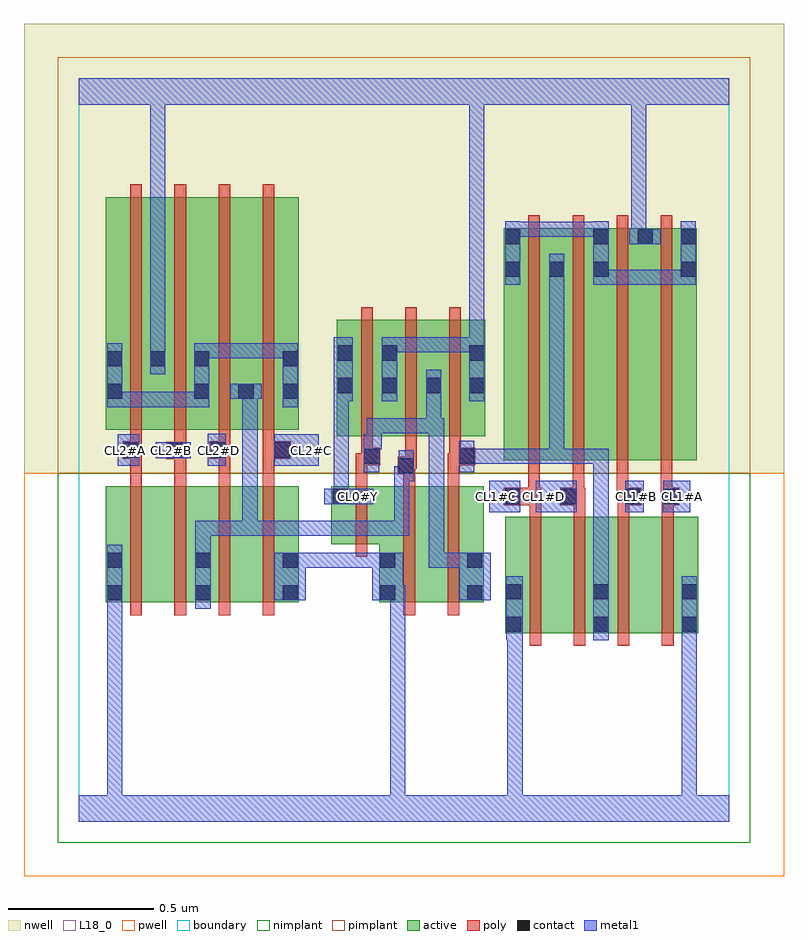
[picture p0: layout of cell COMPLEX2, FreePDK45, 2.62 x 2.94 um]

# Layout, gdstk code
import gdstk
lib = gdstk.Library(unit=1e-6, precision=1e-09)
def R(c, l, rs):  # rectangles x0, y0, x1, y1
    for r in rs: c.add(gdstk.rectangle(r[:2], r[2:], *l))
def A(c, l, x, y, w, h, nx, ny, dx, dy):  # array of equal rectangles
    R(c, l, [(x+i*dx, y+j*dy, x+i*dx+w, y+j*dy+h) for i in range(nx) for j in range(ny)])
active = (1, 0)
pwell = (2, 0)
nwell = (3, 0)
nimplant = (4, 0)
pimplant = (5, 0)
poly = (9, 0)
contact = (10, 0)
metal1 = (11, 0)
L18_0 = (18, 0)
boundary = (235, 0)

complex2 = lib.new_cell('COMPLEX2')
A(complex2, active, 1.464, 1.244, 0.212, 0.8, 3, 1, 0.152, 0)
A(complex2, active, 0.888, 1.328, 0.06, 0.316, 3, 1, 0.152, 0)
A(complex2, active, 0.242, 1.35, 0.212, 0.8, 3, 1, 0.152, 0)
A(complex2, active, 1.616, 1.686, 0.06, 0.358, 3, 1, 0.152, 0)
R(complex2, active, [(1.468,0.65,1.528,1.05), (1.468,0.65,1.648,1.05), (1.648,0.65,1.828,1.05), (1.768,0.65,1.952,1.05), (1.768,0.65,1.828,0.822), (1.952,0.65,2.132,1.05), (2.072,0.65,2.132,1.05), (0.094,0.756,0.154,1.156), (0.094,0.756,0.274,1.156), (0.274,0.756,0.458,1.156), (0.398,0.756,0.458,1.156), (0.398,0.756,0.578,1.156), (0.578,0.756,0.758,1.156), (0.698,0.756,0.758,0.948), (1.034,0.756,1.214,1.156), (1.034,0.756,1.094,0.956), (1.214,0.756,1.394,1.156), (1.334,0.756,1.394,1.156), (0.87,0.956,0.93,1.156), (0.87,0.956,1.094,1.156), (1.464,1.244,1.524,2.044), (1.92,1.244,2.128,2.044), (2.068,1.244,2.128,2.044), (0.888,1.328,1.1,1.728), (1.04,1.328,1.252,1.728), (1.192,1.328,1.4,1.728), (1.34,1.328,1.4,1.644), (0.094,1.35,0.302,2.15), (0.094,1.35,0.154,2.044), (0.698,1.35,0.758,2.044), (0.394,1.452,0.454,2.044), (0.546,1.452,0.606,2.044), (0.242,1.564,0.302,2.044)])
R(complex2, pwell, [(-0.188,-0.188,2.428,1.2)])
R(complex2, nwell, [(-0.188,1.2,2.428,2.748)])
R(complex2, nimplant, [(-0.072,-0.072,2.312,1.2)])
R(complex2, pimplant, [(-0.072,1.2,2.312,2.632)])
A(complex2, poly, 1.552, 0.606, 0.04, 0.488, 4, 1, 0.152, 0)
A(complex2, poly, 0.178, 0.712, 0.04, 0.488, 4, 1, 0.152, 0)
A(complex2, poly, 1.552, 1.054, 0.04, 0.076, 4, 1, 0.152, 0)
A(complex2, poly, 1.548, 1.11, 0.04, 0.13, 4, 1, 0.152, 0)
A(complex2, poly, 1.548, 1.2, 0.04, 0.888, 4, 1, 0.152, 0)
A(complex2, poly, 0.972, 1.284, 0.04, 0.488, 3, 1, 0.152, 0)
A(complex2, poly, 0.178, 1.306, 0.04, 0.888, 4, 1, 0.152, 0)
R(complex2, poly, [(1.118,0.712,1.158,1.2), (1.27,0.712,1.31,1.2), (0.954,0.912,0.994,1.2), (1.464,1.09,1.592,1.15), (1.658,1.09,1.744,1.15), (1.856,1.09,1.938,1.15), (2.008,1.09,2.068,1.15), (1.548,1.11,1.588,1.15), (1.548,1.11,1.588,1.15), (1.7,1.11,1.74,1.15), (1.7,1.11,1.74,1.15), (1.852,1.11,1.896,1.15), (1.856,1.11,1.896,1.15), (2.004,1.11,2.048,1.15), (2.008,1.11,2.048,1.15), (0.178,1.16,0.218,1.29), (0.33,1.16,0.37,1.288), (0.482,1.16,0.522,1.29), (0.634,1.16,0.674,1.29), (0.954,1.16,0.994,1.268), (1.118,1.16,1.158,1.236), (1.27,1.16,1.31,1.268), (1.098,1.196,1.158,1.256), (1.118,1.216,1.158,1.256), (1.118,1.216,1.164,1.256), (1.124,1.216,1.164,1.324), (0.954,1.228,1.012,1.268), (0.972,1.228,1.012,1.268), (0.972,1.228,1.038,1.288), (1.27,1.228,1.316,1.268), (1.276,1.228,1.316,1.268), (1.276,1.228,1.366,1.288), (0.302,1.248,0.37,1.308), (0.972,1.248,1.012,1.324), (1.276,1.248,1.316,1.324), (0.152,1.25,0.218,1.31), (0.45,1.25,0.522,1.31), (0.482,1.25,0.522,1.29), (0.482,1.25,0.522,1.29), (0.634,1.25,0.674,1.29), (0.634,1.25,0.674,1.29), (0.634,1.25,0.73,1.31), (0.33,1.268,0.37,1.308), (0.33,1.268,0.37,1.308), (0.33,1.268,0.37,1.346), (0.178,1.27,0.218,1.31), (0.178,1.27,0.218,1.31), (0.178,1.27,0.218,1.346), (0.482,1.27,0.522,1.346), (0.634,1.27,0.674,1.346)])
A(complex2, contact, 0.398, 1.456, 0.052, 0.052, 3, 1, 0.152, 0)
A(complex2, contact, 0.892, 1.476, 0.052, 0.052, 3, 1, 0.152, 0)
A(complex2, contact, 1.468, 1.876, 0.052, 0.052, 3, 1, 0.152, 0)
R(complex2, contact, [(1.472,0.654,1.524,0.706), (1.772,0.654,1.824,0.706), (2.076,0.654,2.128,0.706), (0.098,0.762,0.15,0.814), (0.402,0.762,0.454,0.814), (0.702,0.762,0.754,0.814), (1.038,0.762,1.09,0.814), (1.338,0.762,1.39,0.814), (1.472,0.766,1.524,0.818), (1.772,0.766,1.824,0.818), (2.076,0.766,2.128,0.818), (0.098,0.874,0.15,0.926), (0.402,0.874,0.454,0.926), (0.702,0.874,0.754,0.926), (1.038,0.874,1.09,0.926), (1.338,0.874,1.39,0.926), (0.874,1.094,0.926,1.146), (1.468,1.094,1.52,1.146), (1.662,1.094,1.714,1.146), (1.882,1.094,1.934,1.146), (2.012,1.094,2.064,1.146), (1.102,1.2,1.154,1.252), (0.982,1.232,1.034,1.284), (1.31,1.232,1.362,1.284), (0.306,1.252,0.358,1.304), (0.156,1.254,0.208,1.306), (0.454,1.254,0.506,1.306), (0.674,1.254,0.726,1.306), (0.098,1.456,0.15,1.508), (1.344,1.476,1.396,1.528), (0.098,1.568,0.15,1.62), (0.246,1.568,0.298,1.62), (0.398,1.568,0.45,1.62), (0.702,1.568,0.754,1.62), (0.892,1.588,0.944,1.64), (1.044,1.588,1.096,1.64), (1.344,1.588,1.396,1.64), (2.072,1.876,2.124,1.928), (1.468,1.988,1.52,2.04), (1.772,1.988,1.824,2.04), (1.924,1.988,1.976,2.04), (2.072,1.988,2.124,2.04)])
R(complex2, metal1, [(0,0,2.24,0.092), (0.098,0.04,0.15,0.786), (1.072,0.04,1.124,0.814), (1.476,0.04,1.528,0.092), (1.476,0.04,1.528,0.092), (1.476,0.04,1.528,0.092), (1.476,0.04,1.528,0.092), (1.476,0.04,1.528,0.092), (1.476,0.04,1.528,0.092), (1.476,0.04,1.528,0.092), (1.476,0.04,1.528,0.092), (1.476,0.04,1.528,0.092), (1.476,0.04,1.528,0.092), (1.476,0.04,1.528,0.678), (2.076,0.04,2.128,0.678), (1.472,0.626,1.528,0.846), (1.476,0.626,1.528,0.678), (1.476,0.626,1.528,0.678), (1.772,0.626,1.824,0.846), (2.076,0.626,2.128,0.678), (2.076,0.626,2.128,0.678), (2.076,0.626,2.128,0.678), (2.076,0.626,2.128,0.678), (2.076,0.626,2.128,0.678), (2.076,0.626,2.128,0.678), (2.076,0.626,2.128,0.678), (2.076,0.626,2.128,0.678), (2.076,0.626,2.128,0.678), (2.076,0.626,2.128,0.678), (2.076,0.626,2.128,0.678), (2.076,0.626,2.128,0.678), (2.076,0.626,2.128,0.846), (0.098,0.734,0.15,0.786), (0.098,0.734,0.15,0.786), (0.098,0.734,0.15,0.786), (0.098,0.734,0.15,0.786), (0.098,0.734,0.15,0.786), (0.098,0.734,0.15,0.786), (0.098,0.734,0.15,0.786), (0.098,0.734,0.15,0.786), (0.098,0.734,0.15,0.786), (0.098,0.734,0.15,0.786), (0.098,0.734,0.15,0.786), (0.098,0.734,0.15,0.786), (0.098,0.734,0.15,0.954), (0.402,0.734,0.454,0.954), (0.674,0.762,0.782,0.926), (1.01,0.762,1.118,0.926), (1.066,0.762,1.118,0.814), (1.066,0.762,1.124,0.814), (1.072,0.762,1.124,0.814), (1.072,0.762,1.124,0.814), (1.072,0.762,1.124,0.814), (1.072,0.762,1.124,0.814), (1.072,0.762,1.124,0.814), (1.072,0.762,1.124,0.814), (1.072,0.762,1.124,0.814), (1.072,0.762,1.124,0.814), (1.072,0.762,1.124,0.814), (1.072,0.762,1.124,0.814), (1.31,0.762,1.418,0.926), (1.772,0.794,1.824,0.846), (1.772,0.794,1.824,0.846), (1.772,0.794,1.824,1.284), (0.73,0.874,0.782,0.926), (0.73,0.874,0.782,0.926), (0.73,0.874,1.044,0.926), (0.992,0.874,1.044,0.926), (0.992,0.874,1.062,0.926), (1.206,0.874,1.258,0.926), (1.206,0.874,1.362,0.926), (1.206,0.874,1.258,1.39), (1.31,0.874,1.362,0.926), (1.31,0.874,1.362,0.926), (1.31,0.874,1.362,0.926), (1.31,0.874,1.362,0.926), (0.402,0.902,0.454,0.954), (0.402,0.902,0.454,1.036), (0.402,0.984,0.616,1.036), (0.564,0.984,0.616,1.036), (0.564,0.984,0.616,1.036), (0.564,0.984,0.616,1.036), (0.564,0.984,0.616,1.036), (0.564,0.984,0.616,1.036), (0.564,0.984,0.616,1.036), (0.564,0.984,0.616,1.036), (0.564,0.984,0.788,1.036), (0.564,0.984,0.616,1.508), (0.736,0.984,0.788,1.036), (0.736,0.984,0.788,1.036), (0.736,0.984,0.788,1.036), (0.736,0.984,0.788,1.036), (0.736,0.984,0.788,1.036), (0.736,0.984,0.936,1.036), (0.884,0.984,0.936,1.036), (0.884,0.984,1.138,1.036), (1.086,0.984,1.138,1.036), (1.086,0.984,1.138,1.036), (1.086,0.984,1.138,1.036), (1.086,0.984,1.138,1.224), (1.414,1.066,1.52,1.174), (1.574,1.066,1.714,1.174), (1.882,1.066,1.946,1.174), (2.012,1.066,2.106,1.174), (0.846,1.094,0.954,1.146), (0.878,1.094,0.93,1.146), (0.878,1.094,0.93,1.5), (0.878,1.094,1.014,1.146), (1.086,1.172,1.138,1.224), (1.086,1.172,1.154,1.224), (1.102,1.172,1.154,1.28), (0.982,1.204,1.034,1.334), (1.31,1.204,1.362,1.312), (0.134,1.226,0.208,1.334), (0.444,1.226,0.506,1.336), (0.674,1.226,0.826,1.334), (1.31,1.232,1.362,1.284), (1.31,1.232,1.362,1.284), (1.31,1.232,1.472,1.284), (1.42,1.232,1.472,1.284), (1.42,1.232,1.472,1.284), (1.42,1.232,1.472,1.284), (1.42,1.232,1.672,1.284), (1.62,1.232,1.672,1.284), (1.62,1.232,1.824,1.284), (1.62,1.232,1.672,1.9), (1.772,1.232,1.824,1.284), (1.772,1.232,1.824,1.284), (1.772,1.232,1.824,1.284), (0.266,1.252,0.386,1.306), (0.982,1.282,1.044,1.334), (0.992,1.282,1.044,1.39), (0.992,1.338,1.248,1.39), (1.196,1.338,1.248,1.39), (1.196,1.338,1.248,1.39), (1.196,1.338,1.248,1.5), (1.196,1.338,1.258,1.39), (0.098,1.428,0.15,1.48), (0.098,1.428,0.15,1.48), (0.098,1.428,0.15,1.648), (0.098,1.428,0.34,1.48), (0.288,1.428,0.34,1.48), (0.288,1.428,0.34,1.48), (0.288,1.428,0.34,1.48), (0.288,1.428,0.45,1.48), (0.398,1.428,0.45,1.648), (0.702,1.428,0.754,1.648), (0.878,1.448,0.93,1.5), (0.878,1.448,0.93,1.5), (0.878,1.448,0.944,1.668), (1.044,1.448,1.096,1.668), (1.196,1.448,1.248,1.556), (1.344,1.448,1.396,1.668), (0.522,1.456,0.63,1.508), (0.246,1.54,0.298,1.648), (0.246,1.596,0.298,1.648), (0.246,1.596,0.298,1.648), (0.246,1.596,0.298,1.648), (0.246,1.596,0.298,1.648), (0.246,1.596,0.298,1.648), (0.246,1.596,0.298,1.648), (0.246,1.596,0.298,2.52), (0.398,1.596,0.45,1.648), (0.398,1.596,0.45,1.648), (0.398,1.596,0.45,1.648), (0.398,1.596,0.45,1.648), (0.398,1.596,0.616,1.648), (0.564,1.596,0.616,1.648), (0.564,1.596,0.616,1.648), (0.564,1.596,0.616,1.648), (0.564,1.596,0.754,1.648), (1.044,1.616,1.248,1.668), (1.196,1.616,1.248,1.668), (1.196,1.616,1.248,1.668), (1.196,1.616,1.248,1.668), (1.196,1.616,1.358,1.668), (1.306,1.616,1.358,1.668), (1.306,1.616,1.396,1.668), (1.344,1.616,1.396,2.52), (1.468,1.848,1.52,2.068), (1.62,1.848,1.672,1.956), (1.772,1.848,1.824,1.9), (1.772,1.848,1.824,1.9), (1.772,1.848,1.824,2.068), (1.772,1.848,1.954,1.9), (1.902,1.848,1.954,1.9), (1.902,1.848,1.954,1.9), (1.902,1.848,1.954,1.9), (1.902,1.848,2.124,1.9), (2.072,1.848,2.124,1.9), (2.072,1.848,2.124,1.9), (2.072,1.848,2.124,2.068), (1.896,1.988,2.004,2.04), (1.902,1.988,1.954,2.04), (1.902,1.988,1.954,2.04), (1.902,1.988,1.954,2.52), (1.468,2.014,1.52,2.066), (1.468,2.014,1.52,2.066), (1.468,2.014,1.658,2.066), (1.606,2.014,1.658,2.066), (1.606,2.014,1.824,2.066), (1.772,2.014,1.824,2.066), (1.772,2.014,1.824,2.066), (0,2.468,2.24,2.56), (0.246,2.468,0.298,2.52), (0.246,2.468,0.298,2.52), (1.344,2.468,1.396,2.52), (1.344,2.468,1.396,2.52), (1.344,2.468,1.396,2.52), (1.344,2.468,1.396,2.52), (1.344,2.468,1.396,2.52), (1.344,2.468,1.396,2.52), (1.344,2.468,1.396,2.52), (1.344,2.468,1.396,2.52), (1.344,2.468,1.396,2.52), (1.344,2.468,1.396,2.52), (1.344,2.468,1.396,2.52), (1.344,2.468,1.396,2.52), (1.344,2.468,1.396,2.52), (1.344,2.468,1.396,2.52), (1.344,2.468,1.396,2.52), (1.344,2.468,1.396,2.52), (1.902,2.468,1.954,2.52), (1.902,2.468,1.954,2.52), (1.902,2.468,1.954,2.52), (1.902,2.468,1.954,2.52), (1.902,2.468,1.954,2.52), (1.902,2.468,1.954,2.52)])
A(complex2, L18_0, 0.134, 1.254, 0.052, 0.052, 3, 1, 0.16, 0)
R(complex2, L18_0, [(0,0,2.24,0.092), (0.098,0.04,0.15,0.786), (1.072,0.04,1.124,0.814), (1.476,0.04,1.528,0.092), (1.476,0.04,1.528,0.092), (1.476,0.04,1.528,0.092), (1.476,0.04,1.528,0.092), (1.476,0.04,1.528,0.092), (1.476,0.04,1.528,0.092), (1.476,0.04,1.528,0.092), (1.476,0.04,1.528,0.092), (1.476,0.04,1.528,0.092), (1.476,0.04,1.528,0.092), (1.476,0.04,1.528,0.678), (2.076,0.04,2.128,0.678), (1.472,0.626,1.528,0.846), (1.476,0.626,1.528,0.678), (1.476,0.626,1.528,0.678), (2.076,0.626,2.128,0.678), (2.076,0.626,2.128,0.678), (2.076,0.626,2.128,0.678), (2.076,0.626,2.128,0.678), (2.076,0.626,2.128,0.678), (2.076,0.626,2.128,0.678), (2.076,0.626,2.128,0.678), (2.076,0.626,2.128,0.678), (2.076,0.626,2.128,0.678), (2.076,0.626,2.128,0.678), (2.076,0.626,2.128,0.678), (2.076,0.626,2.128,0.678), (2.076,0.626,2.128,0.846), (0.098,0.734,0.15,0.786), (0.098,0.734,0.15,0.786), (0.098,0.734,0.15,0.786), (0.098,0.734,0.15,0.786), (0.098,0.734,0.15,0.786), (0.098,0.734,0.15,0.786), (0.098,0.734,0.15,0.786), (0.098,0.734,0.15,0.786), (0.098,0.734,0.15,0.786), (0.098,0.734,0.15,0.786), (0.098,0.734,0.15,0.786), (0.098,0.734,0.15,0.786), (0.098,0.734,0.15,0.954), (0.674,0.762,0.782,0.926), (1.01,0.762,1.118,0.926), (1.066,0.762,1.118,0.814), (1.066,0.762,1.124,0.814), (1.072,0.762,1.124,0.814), (1.072,0.762,1.124,0.814), (1.072,0.762,1.124,0.814), (1.072,0.762,1.124,0.814), (1.072,0.762,1.124,0.814), (1.072,0.762,1.124,0.814), (1.072,0.762,1.124,0.814), (1.072,0.762,1.124,0.814), (1.072,0.762,1.124,0.814), (1.072,0.762,1.124,0.814), (0.73,0.874,0.782,0.926), (0.73,0.874,0.782,0.926), (0.73,0.874,1.044,0.926), (0.992,0.874,1.044,0.926), (0.992,0.874,1.062,0.926), (1.414,1.066,1.52,1.174), (1.574,1.066,1.714,1.174), (1.882,1.066,1.946,1.174), (2.012,1.066,2.106,1.174), (0.846,1.094,0.954,1.146), (0.878,1.094,0.93,1.146), (0.878,1.094,1.014,1.146), (0.878,1.094,0.93,1.5), (0.934,1.094,0.986,1.146), (1.414,1.094,1.466,1.146), (1.574,1.094,1.626,1.146), (1.894,1.094,1.946,1.146), (2.054,1.094,2.106,1.146), (0.134,1.226,0.208,1.334), (0.444,1.226,0.506,1.336), (0.674,1.226,0.826,1.334), (0.266,1.252,0.386,1.306), (0.774,1.254,0.826,1.306), (0.878,1.448,0.93,1.5), (0.878,1.448,0.93,1.5), (0.878,1.448,0.944,1.668), (1.044,1.448,1.096,1.668), (1.344,1.448,1.396,1.668), (0.246,1.54,0.298,1.648), (0.246,1.596,0.298,1.648), (0.246,1.596,0.298,1.648), (0.246,1.596,0.298,1.648), (0.246,1.596,0.298,1.648), (0.246,1.596,0.298,1.648), (0.246,1.596,0.298,1.648), (0.246,1.596,0.298,2.52), (1.044,1.616,1.248,1.668), (1.196,1.616,1.248,1.668), (1.196,1.616,1.248,1.668), (1.196,1.616,1.248,1.668), (1.196,1.616,1.358,1.668), (1.306,1.616,1.358,1.668), (1.306,1.616,1.396,1.668), (1.344,1.616,1.396,2.52), (1.896,1.988,2.004,2.04), (1.902,1.988,1.954,2.04), (1.902,1.988,1.954,2.04), (1.902,1.988,1.954,2.52), (0,2.468,2.24,2.56), (0.246,2.468,0.298,2.52), (0.246,2.468,0.298,2.52), (1.344,2.468,1.396,2.52), (1.344,2.468,1.396,2.52), (1.344,2.468,1.396,2.52), (1.344,2.468,1.396,2.52), (1.344,2.468,1.396,2.52), (1.344,2.468,1.396,2.52), (1.344,2.468,1.396,2.52), (1.344,2.468,1.396,2.52), (1.344,2.468,1.396,2.52), (1.344,2.468,1.396,2.52), (1.344,2.468,1.396,2.52), (1.344,2.468,1.396,2.52), (1.344,2.468,1.396,2.52), (1.344,2.468,1.396,2.52), (1.344,2.468,1.396,2.52), (1.344,2.468,1.396,2.52), (1.902,2.468,1.954,2.52), (1.902,2.468,1.954,2.52), (1.902,2.468,1.954,2.52), (1.902,2.468,1.954,2.52), (1.902,2.468,1.954,2.52), (1.902,2.468,1.954,2.52)])
R(complex2, boundary, [(0,0,2.24,2.56)])
complex2.add(gdstk.Label('CL0#Y', (0.96,1.12), layer=11, texttype=0))
complex2.add(gdstk.Label('CL1#A', (2.08,1.12), layer=11, texttype=0))
complex2.add(gdstk.Label('CL1#B', (1.92,1.12), layer=11, texttype=0))
complex2.add(gdstk.Label('CL1#C', (1.44,1.12), layer=11, texttype=0))
complex2.add(gdstk.Label('CL1#D', (1.6,1.12), layer=11, texttype=0))
complex2.add(gdstk.Label('CL2#A', (0.16,1.28), layer=11, texttype=0))
complex2.add(gdstk.Label('CL2#B', (0.32,1.28), layer=11, texttype=0))
complex2.add(gdstk.Label('CL2#C', (0.8,1.28), layer=11, texttype=0))
complex2.add(gdstk.Label('CL2#D', (0.48,1.28), layer=11, texttype=0))

lib.write_gds('COMPLEX2.gds')
